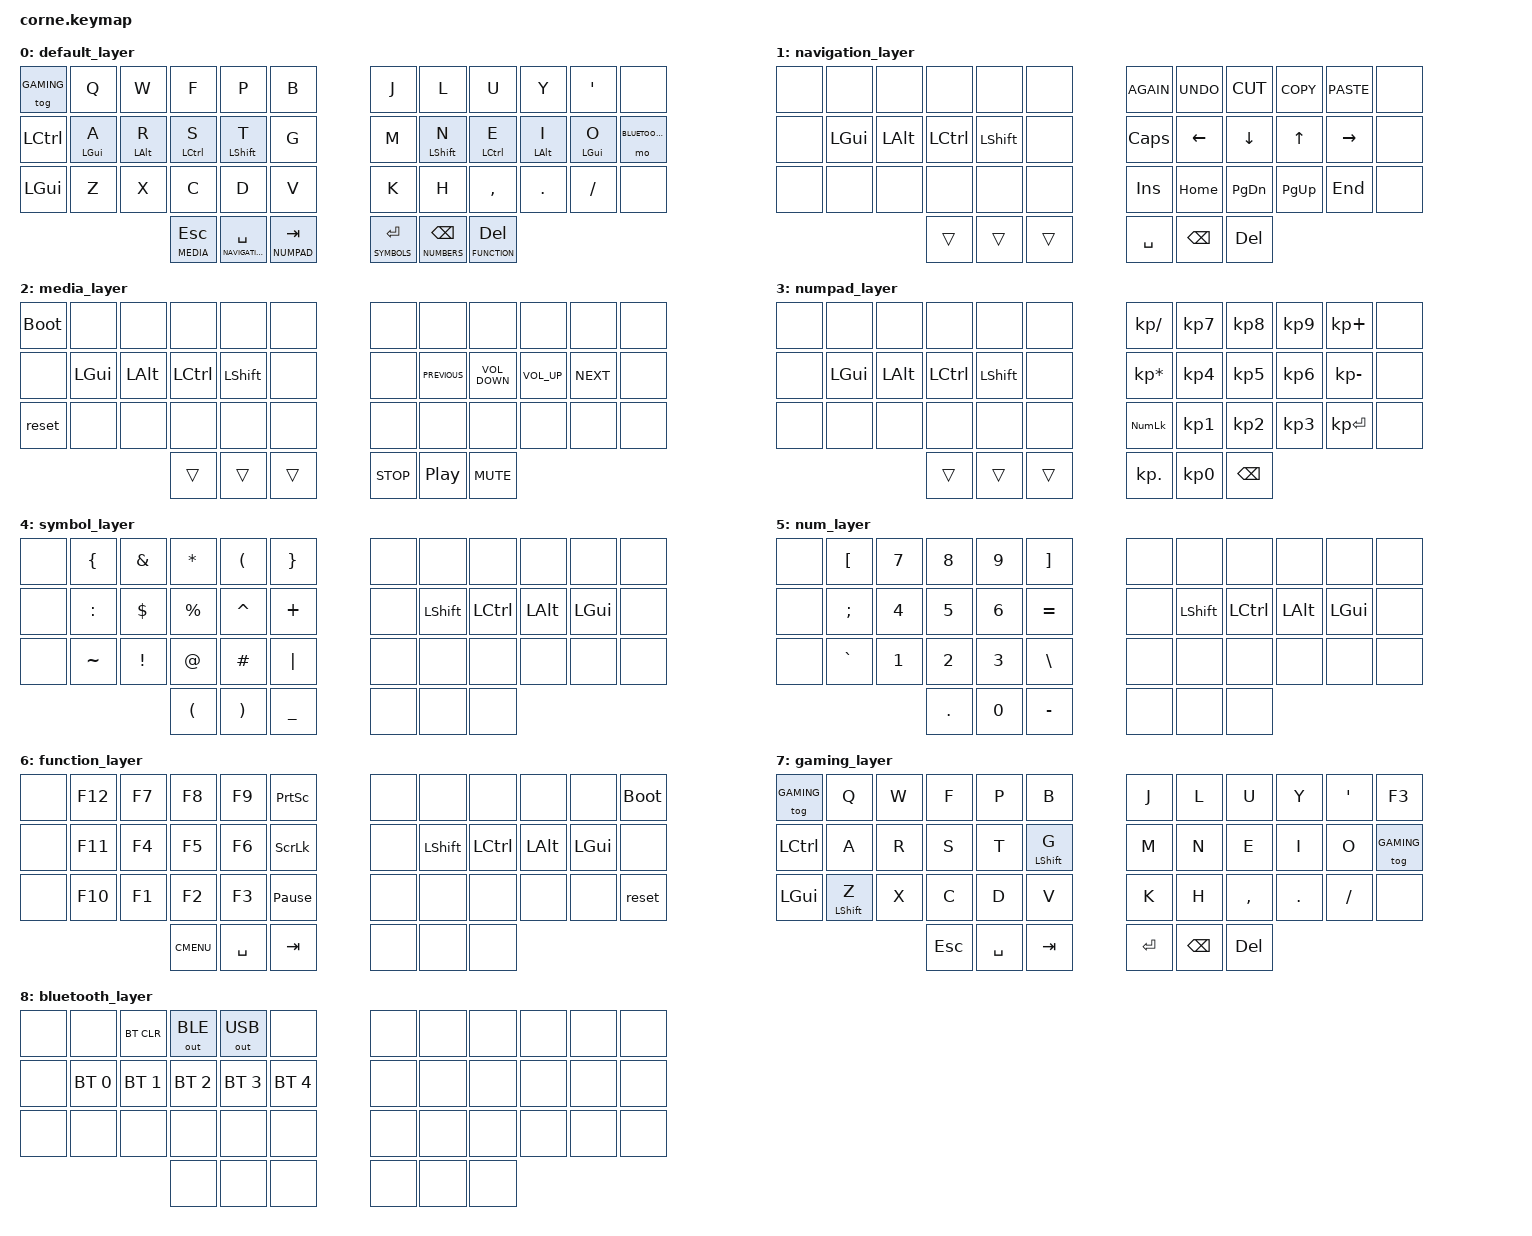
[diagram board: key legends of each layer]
/*
 * Copyright (c) 2020 The ZMK Contributors
 *
 * SPDX-License-Identifier: MIT
 */

#include <behaviors.dtsi>
#include <dt-bindings/zmk/keys.h>
#include <dt-bindings/zmk/bt.h>
#include <dt-bindings/zmk/outputs.h>

#define DEFAULT    0
#define NAVIGATION 1
#define MEDIA      2
#define NUMPAD     3
#define SYMBOLS    4
#define NUMBERS    5
#define FUNCTION   6
#define GAMING     7
#define BLUETOOTH  8

&mt {
    tapping_term_ms = <200>;
};
/ {
    behaviors {
        hm: homerow_mods {
            compatible = "zmk,behavior-hold-tap";
            label = "HOMEROW_MODS";
            #binding-cells = <2>;
            tapping-term-ms = <250>;
            quick_tap_ms = <0>;
            flavor = "tap-preferred";
            bindings = <&kp>, <&kp>;
        };
    };
};    
/ {
        keymap {
                compatible = "zmk,keymap";

                default_layer {
// -----------------------------------------------------------------------------------------
// |GAMING|  Q      |  W      |  F       |  P       |  B       |   |  J      |  L       |  U       |  Y      |  '      | |
// | CTRL |  WIN/A  |  ALT/R  |  CTRL/S  |  SHFT/T  |  G       |   |  M      |  SHFT/N  |  CTRL/E  |  ALT/I  |  WIN/O  |BLUETOOTH|
// | WIN  |  Z      |  X      |  C       |  D       |  V       |   |  K      |  H       |  ,       |  .      |  /      | |
//                            |MEDIA/ESC | NAV/SPACE| PAD/TAB  |   |SYM/ENTER| NUM/BKSPC| FN/DEL |
                        bindings = <
   &tog GAMING      &kp Q      &kp W      &kp F         &kp P              &kp B                        &kp J             &kp L           &kp U           &kp Y        &kp SQT       &none
   &kp LCTRL        &hm LGUI A &hm LALT R &hm LCTRL S   &hm LSHFT T        &kp G                        &kp M             &hm LSHFT N     &hm LCTRL E     &hm LALT I   &hm LGUI O    &mo BLUETOOTH
   &kp LGUI         &kp Z      &kp X      &kp C         &kp D              &kp V                        &kp K             &kp H           &kp COMMA       &kp DOT      &kp FSLH      &none
                                   &lt MEDIA ESC &lt NAVIGATION SPACE &lt NUMPAD TAB                    &lt SYMBOLS RET &lt NUMBERS BSPC &lt FUNCTION DEL
                        >;
                };
                navigation_layer {
// -----------------------------------------------------------------------------------------
// | |     |     |      |       | |   |  AGAIN | UNDO  | CUT     | COPY  | PASTE | |
// | | WIN | ALT | CTRL | SHIFT | |   |CAPSLOCK| LEFT  | DOWN    | UP    | RIGHT | |
// | |     |     |      |       | |   | INSERT | HOME  | PG_DOWN | PG_UP | END   | |
//               |      |       | |   | SPACE  | BKSPC | DELETE  |
                        bindings = <
   &none &none    &none    &none     &none     &none            &kp K_AGAIN  &kp K_UNDO &kp K_CUT     &kp K_COPY     &kp K_PASTE &none
   &none &kp LGUI &kp LALT &kp LCTRL &kp LSHFT &none            &kp CAPSLOCK &kp LEFT   &kp DOWN      &kp UP         &kp RIGHT   &none
   &none &none    &none    &none     &none     &none            &kp INSERT   &kp HOME   &kp PAGE_DOWN &kp PAGE_UP    &kp END     &none
                           &trans    &trans    &trans           &kp SPACE    &kp BSPC   &kp DEL
                        >;
                };
                media_layer {
// -----------------------------------------------------------------------------------------
// |Bootloader|     |     |      |       | |      |      |            |             |           |      | |
// |          | WIN | ALT | CTRL | SHIFT | |      |      | PREVIOUS   | VOLUME DOWN | VOLUME UP | NEXT | |
// |   Reset  |     |     |      |       | |      |      |            |             |           |      | |
//               |      |       | |      | STOP | PLAY/PAUSE | MUTE        | 
                        bindings = <
   &bootloader &none    &none    &none     &none     &none            &none        &none             &none             &none           &none      &none
   &none       &kp LGUI &kp LALT &kp LCTRL &kp LSHFT &none            &none        &kp C_PREVIOUS    &kp C_VOLUME_DOWN &kp C_VOLUME_UP &kp C_NEXT &none
   &reset      &none    &none    &none     &none     &none            &none        &none             &none             &none           &none      &none
                                 &trans    &trans    &trans           &kp C_STOP   &kp C_PLAY_PAUSE  &kp K_MUTE
                        >;
                };
                numpad_layer {
// -----------------------------------------------------------------------------------------
// | |     |     |      |       | |      | /       | 7 | 8         | 9 | -     |
// | | WIN | ALT | CTRL | SHIFT | |      | *       | 4 | 5         | 6 | +     | 
// | |     |     |      |       | |      | NUMLOCK | 1 | 2         | 3 | ENTER |
//               |      |       | |      | .       | 0 | BACKSPACE |
                        bindings = <
   &none &none    &none    &none     &none     &none            &kp KP_SLASH    &kp KP_N7  &kp KP_N8    &kp KP_N9 &kp KP_PLUS   &none 
   &none &kp LGUI &kp LALT &kp LCTRL &kp LSHFT &none            &kp KP_ASTERISK &kp KP_N4  &kp KP_N5    &kp KP_N6 &kp KP_MINUS  &none
   &none &none    &none    &none     &none     &none            &kp KP_NUMLOCK  &kp KP_N1  &kp KP_N2    &kp KP_N3 &kp KP_ENTER  &none
                           &trans    &trans    &trans           &kp KP_DOT      &kp KP_N0  &kp BSPC
                        >;
                };
                symbol_layer {
// -----------------------------------------------------------------------------------------
// | | { | & | * | ( | } |      | |       |      |     |     | |
// | | : | $ | % | ^ | + |      | | SHIFT | CTRL | ALT | WIN | |
// | | ~ | ! | @ | # | | |      | |       |      |     |     | |
//           | ( | ) | _ |      | |       |      |
                        bindings = <
   &none &kp LEFT_BRACE &kp AMPERSAND    &kp ASTERISK          &kp LEFT_PARENTHESIS  &kp RIGHT_BRACE       &none &none     &none     &none    &none    &none
   &none &kp COLON      &kp DOLLAR       &kp PERCENT           &kp CARET             &kp PLUS              &none &kp LSHFT &kp LCTRL &kp LALT &kp LGUI &none
   &none &kp TILDE      &kp EXCLAMATION  &kp AT                &kp POUND             &kp PIPE              &none &none     &none     &none    &none    &none
                                         &kp LEFT_PARENTHESIS  &kp RIGHT_PARENTHESIS &kp UNDERSCORE        &none &none     &none
                        >;
                };
                num_layer {
// -----------------------------------------------------------------------------------------
// | | [/{ | 7/& | 8/* | 9/( | ]/}        |      | |       |      |     |     | |
// | | ;/: | 4/$ | 5/% | 6/^ | =/+        |      | | SHIFT | CTRL | ALT | WIN | |
// | | `/~ | 1/! | 2/@ | 3/# | BSLSH/PIPE |      | |       |      |     |     | |
//               | ./> | 0/) | -/_        |      | |       |      |
                        bindings = <
   &none &kp LEFT_BRACKET &kp N7 &kp N8  &kp N9 &kp RIGHT_BRACKET     &none &none     &none     &none    &none    &none
   &none &kp SEMICOLON    &kp N4 &kp N5  &kp N6 &kp EQUAL             &none &kp LSHFT &kp LCTRL &kp LALT &kp LGUI &none
   &none &kp GRAVE        &kp N1 &kp N2  &kp N3 &kp BACKSLASH         &none &none     &none     &none    &none    &none
                                 &kp DOT &kp N0 &kp MINUS             &none &none     &none
                        >;
                };
                function_layer {
// -----------------------------------------------------------------------------------------
// | | F12 | F7 | F8 | F9 | PRINTSCREEN |      | |       |      |     |     |Bootloader     |
// | | F11 | F4 | F5 | F6 | SCROLL LOCK |      | | SHIFT | CTRL | ALT | WIN |               |
// | | F10 | F1 | F2 | F3 | PAUSE       |      | |       |      |     |     |Reload Firmware|
//              |MENU|SPCE| TAB         |      | |       |      |
                        bindings = <
   &none &kp F12 &kp F7 &kp F8      &kp F9    &kp PRINTSCREEN       &none &none     &none     &none    &none    &bootloader
   &none &kp F11 &kp F4 &kp F5      &kp F6    &kp SCROLLLOCK        &none &kp LSHFT &kp LCTRL &kp LALT &kp LGUI &none
   &none &kp F10 &kp F1 &kp F2      &kp F3    &kp PAUSE_BREAK       &none &none     &none     &none    &none    &reset
                        &kp K_CMENU &kp SPACE &kp TAB               &none &none     &none
                        >;
                };
                gaming_layer {
// -----------------------------------------------------------------------------------------
// |GAMING|  Q   |  W  |  F  |  P  |  B        |        |  J  |  L  |  U  |  Y  |  '  |F3|
// | CTRL |  A   |  R  |  S  |  T  |  SHFT/G   |        |  M  |  N  |  E  |  I  |  O  |Gaming Toggle|
// | WIN  |SHFT/Z|  X  |  C  |  D  |  V        |        |  K  |  H  |  ,  |  .  |  /  | |
//                     | ESC |SPACE|  TAB      |        |ENTER|BKSPC| DEL |
                        bindings = <
   &tog GAMING      &kp Q        &kp W      &kp F     &kp P         &kp B                        &kp J             &kp L            &kp U            &kp Y        &kp SQT       &kp F3
   &kp LCTRL        &kp A        &kp R      &kp S     &kp T         &mt LSHFT G                  &kp M             &kp N            &kp E            &kp I        &kp O         &tog GAMING
   &kp LGUI         &hm LSHFT Z  &kp X      &kp C     &kp D         &kp V                        &kp K             &kp H            &kp COMMA        &kp DOT      &kp FSLH      &none
                                          &kp ESC   &kp SPACE     &kp TAB                      &kp ENTER         &kp BSPC         &kp DEL
                        >;
                 };
                 bluetooth_layer {
// -----------------------------------------------------------------------------------------
// | |     | BTCLR | OUPUT TOGGLE |
// | | BT1 | BT2 | BT3 | BT4 | BT5 |
                        bindings = <
   &none          &none        &bt BT_CLR   &out OUT_BLE &out OUT_USB &none          &none &none &none &none &none &none
   &none          &bt BT_SEL 0 &bt BT_SEL 1 &bt BT_SEL 2 &bt BT_SEL 3 &bt BT_SEL 4   &none &none &none &none &none &none
   &none          &none        &none        &none        &none        &none          &none &none &none &none &none &none
                                            &none        &none        &none          &none &none &none
                        >;
                };
        };
};
